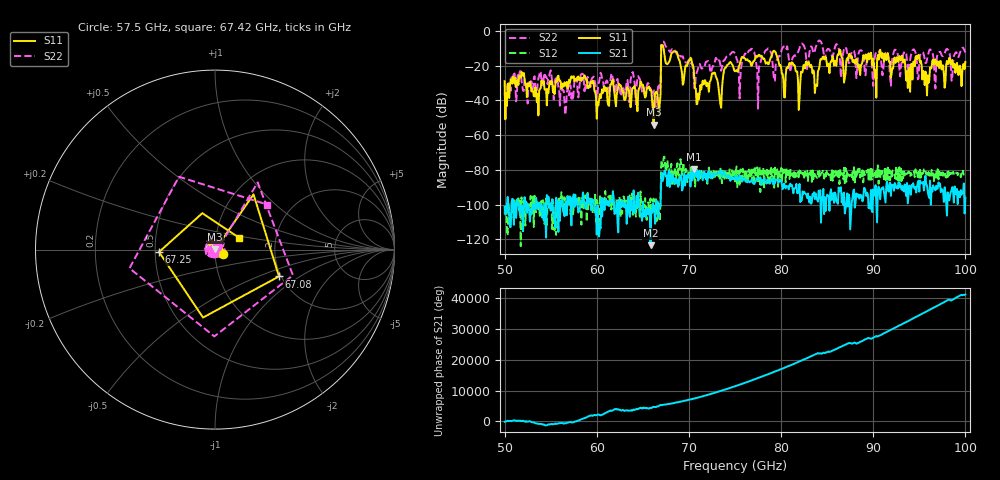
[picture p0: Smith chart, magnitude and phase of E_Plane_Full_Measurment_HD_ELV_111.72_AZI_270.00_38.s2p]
! 11/26/2026 3:35:01 PM
! C:\ANRITSUVNA\TEMP\TEMP.S2P
! CHANNEL.1
! TR.MEASUREMENT
! RAW.DATA
# HZ S RI R 50.0
! FREQ.HZ  S11RE  S11IM  S21RE  S21IM  S12RE  S12IM  S22RE  S22IM
!; PortSelection: Port_12
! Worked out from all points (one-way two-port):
!   601 points, 50 GHz to 100 GHz, reference 50 ohm
!   highest |S21| = -79.81 dB at 70.5 GHz (marker M1); lowest = -123.5 dB at 65.83 GHz (marker M2)
!   lowest |S11| = -54.1 dB at 66.17 GHz (marker M3), VSWR 1.00, Z = 50.1 + j0.142 ohm
!   |S11| at or under -10 dB: start of sweep to 67 GHz; 67.24 GHz to end of sweep
!   |S22| runs from -48.4 to -5.6 dB; largest |S21 - S12| = 0.00025
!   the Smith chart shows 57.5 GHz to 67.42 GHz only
!   S11 on the Smith chart (normalised r, x): 57.5 GHz: 1.09, -0.05; 67.08 GHz: 1.95, -0.69; 67.25 GHz: 0.52, -0.02; 67.42 GHz: 1.29, +0.18
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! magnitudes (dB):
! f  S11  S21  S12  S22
! 50 GHz  -29.0  -101.2  -105.6  -35.8
! 51.67 GHz  -26.3  -106.0  -98.0  -23.3
! 57.5 GHz  -26.2  -94.2  -100.6  -34.6
! 58.42 GHz  -27.2  -99.1  -96.2  -24.7
! 60.17 GHz  -43.0  -111.4  -105.2  -30.4
! 65.83 GHz  -33.8  -123.5  -96.6  -33.2
! 66.17 GHz  -54.1  -103.5  -96.6  -34.0
! 66.67 GHz  -41.5  -108.0  -99.2  -31.6
! 67.08 GHz  -8.3  -81.8  -75.6  -6.8
! 67.25 GHz  -10.1  -83.6  -73.4  -6.2
! 67.42 GHz  -16.5  -80.3  -77.3  -8.3
! 70.5 GHz  -21.3  -79.8  -80.6  -24.9
! 70.92 GHz  -42.1  -80.4  -84.3  -23.2
! 75 GHz  -23.3  -85.6  -86.8  -13.0
! 79.25 GHz  -11.5  -87.0  -90.3  -28.9
! 80.25 GHz  -27.9  -90.0  -82.9  -9.3
! 83.42 GHz  -24.5  -93.9  -80.4  -10.8
! 91.67 GHz  -16.8  -92.5  -85.8  -15.2
! 93.75 GHz  -32.9  -99.3  -81.7  -21.3
! 94.83 GHz  -15.0  -87.4  -84.2  -27.9
! 95.83 GHz  -37.2  -88.9  -82.0  -16.5
! 100 GHz  -17.9  -96.0  -83.1  -12.6
